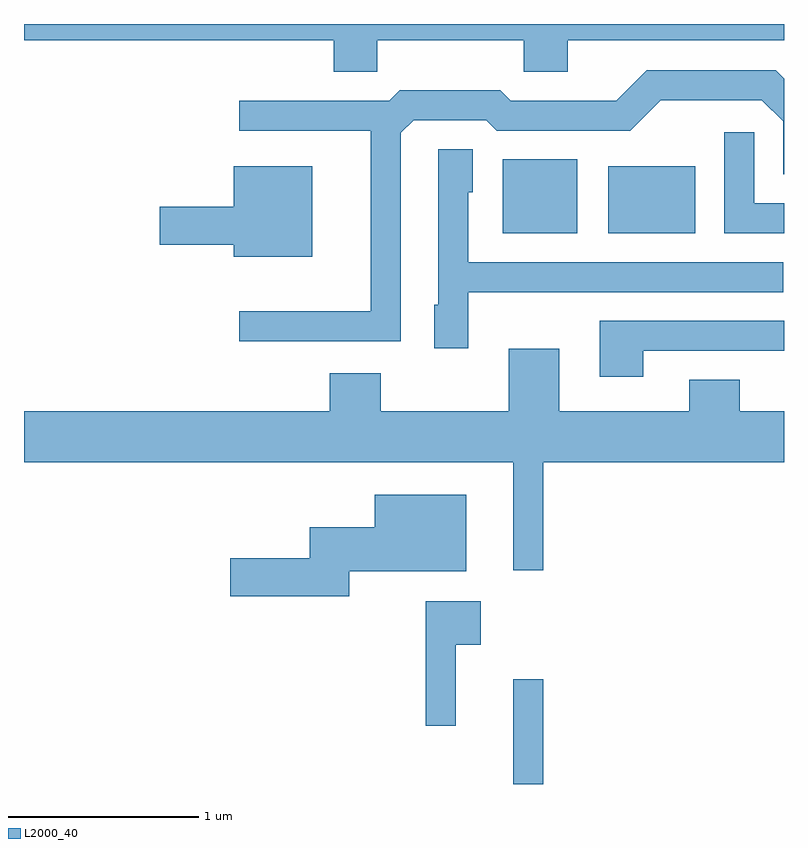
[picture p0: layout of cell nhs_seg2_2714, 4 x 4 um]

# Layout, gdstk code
import gdstk
lib = gdstk.Library(unit=1e-6, precision=1e-09)
def R(c, l, rs):  # rectangles x0, y0, x1, y1
    for r in rs: c.add(gdstk.rectangle(r[:2], r[2:], *l))
def P(c, l, *ps):  # polygons
    for p in ps: c.add(gdstk.Polygon(p, *l))
L2000_40 = (2000, 40)

nhs_seg2_2714 = lib.new_cell('nhs_seg2_2714')
R(nhs_seg2_2714, L2000_40, [(268.186,977.802,268.344,978.353), (268.131,980.701,268.524,981.089), (268.686,980.701,269.144,981.054)])
P(nhs_seg2_2714, L2000_40, [(267.469,981.716),(268.241,981.716),(268.241,981.551),(268.474,981.551),(268.474,981.716),(269.611,981.716),(269.611,981.802),(265.611,981.802),(265.611,981.716),(267.241,981.716),(267.241,981.551),(267.469,981.551)],
  [(267.594,981.229),(267.662,981.296),(268.044,981.296),(268.099,981.241),(268.802,981.241),(268.962,981.401),(269.494,981.401),(269.606,981.289),(269.606,981.011),(269.611,981.011),(269.611,981.515),(269.567,981.559),(268.889,981.559),(268.729,981.399),(268.172,981.399),(268.117,981.454),(267.589,981.454),(267.534,981.399),(266.743,981.399),(266.743,981.241),(267.436,981.241),(267.436,980.289),(266.743,980.289),(266.743,980.131),(267.594,980.131)],
  [(269.611,980.859),(269.454,980.859),(269.454,981.233),(269.296,981.233),(269.296,980.701),(269.611,980.701)],
  [(267.949,980.391),(269.608,980.391),(269.608,980.549),(267.949,980.549),(267.949,980.916),(267.974,980.916),(267.974,981.144),(267.791,981.144),(267.791,980.324),(267.771,980.324),(267.771,980.096),(267.949,980.096)],
  [(267.129,981.054),(266.716,981.054),(266.716,980.839),(266.326,980.839),(266.326,980.641),(266.716,980.641),(266.716,980.576),(267.129,980.576)],
  [(268.869,980.081),(269.611,980.081),(269.611,980.239),(268.641,980.239),(268.641,979.946),(268.869,979.946)],
  [(268.344,979.496),(269.611,979.496),(269.611,979.764),(269.379,979.764),(269.379,979.929),(269.111,979.929),(269.111,979.764),(268.429,979.764),(268.429,980.094),(268.161,980.094),(268.161,979.764),(267.489,979.764),(267.489,979.964),(267.221,979.964),(267.221,979.764),(265.611,979.764),(265.611,979.496),(268.186,979.496),(268.186,978.928),(268.344,978.928)],
  [(267.324,978.921),(267.939,978.921),(267.939,979.324),(267.456,979.324),(267.456,979.154),(267.116,979.154),(267.116,978.989),(266.696,978.989),(266.696,978.791),(267.324,978.791)],
  [(267.884,978.536),(268.014,978.536),(268.014,978.764),(267.726,978.764),(267.726,978.108),(267.884,978.108)])

lib.write_gds('nhs_seg2_2714.gds')
